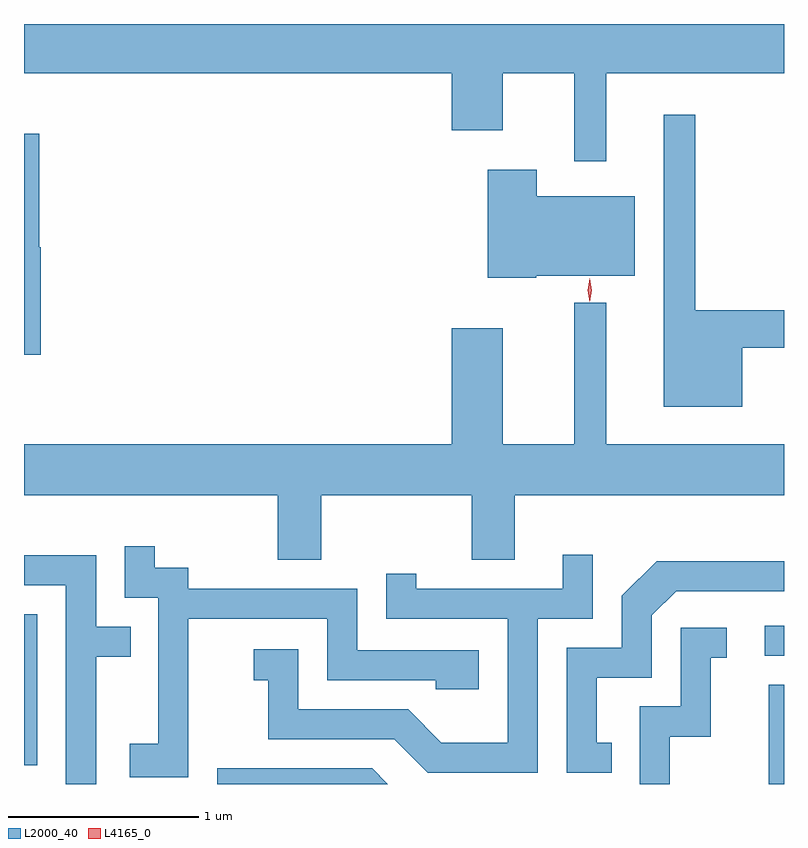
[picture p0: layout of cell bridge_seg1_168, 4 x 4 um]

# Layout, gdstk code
import gdstk
lib = gdstk.Library(unit=1e-6, precision=1e-09)
def R(c, l, rs):  # rectangles x0, y0, x1, y1
    for r in rs: c.add(gdstk.rectangle(r[:2], r[2:], *l))
def P(c, l, *ps):  # polygons
    for p in ps: c.add(gdstk.Polygon(p, *l))
L2000_40 = (2000, 40)
L4165_0 = (4165, 0)

bridge_seg1_168 = lib.new_cell('bridge_seg1_168')
R(bridge_seg1_168, L2000_40, [(716.246,957.996,716.325,958.519), (712.325,958.096,712.394,958.889), (716.223,958.671,716.325,958.829)])
P(bridge_seg1_168, L2000_40, [(715.389,961.736),(716.325,961.736),(716.325,961.996),(712.325,961.996),(712.325,961.736),(714.576,961.736),(714.576,961.436),(714.844,961.436),(714.844,961.736),(715.221,961.736),(715.221,961.273),(715.389,961.273)],
  [(716.104,960.291),(716.325,960.291),(716.325,960.489),(715.859,960.489),(715.859,961.518),(715.691,961.518),(715.691,959.981),(716.104,959.981)],
  [(712.414,960.82),(712.404,960.82),(712.404,961.419),(712.325,961.419),(712.325,960.256),(712.414,960.256)],
  [(715.02,960.671),(715.539,960.671),(715.539,961.089),(715.024,961.089),(715.024,961.229),(714.766,961.229),(714.766,960.661),(715.02,960.661)],
  [(713.889,959.516),(714.681,959.516),(714.681,959.176),(714.909,959.176),(714.909,959.516),(716.325,959.516),(716.325,959.784),(715.389,959.784),(715.389,960.528),(715.221,960.528),(715.221,959.784),(714.844,959.784),(714.844,960.394),(714.576,960.394),(714.576,959.784),(712.325,959.784),(712.325,959.516),(713.661,959.516),(713.661,959.176),(713.889,959.176)],
  [(713.189,958.866),(713.921,958.866),(713.921,958.541),(714.491,958.541),(714.491,958.496),(714.719,958.496),(714.719,958.699),(714.079,958.699),(714.079,959.024),(713.189,959.024),(713.189,959.134),(713.014,959.134),(713.014,959.248),(712.856,959.248),(712.856,958.976),(713.031,958.976),(713.031,958.209),(712.881,958.209),(712.881,958.031),(713.189,958.031)],
  [(715.029,958.866),(715.319,958.866),(715.319,959.203),(715.161,959.203),(715.161,959.024),(714.389,959.024),(714.389,959.103),(714.231,959.103),(714.231,958.866),(714.871,958.866),(714.871,958.214),(714.522,958.214),(714.347,958.389),(713.769,958.389),(713.769,958.704),(713.533,958.704),(713.533,958.541),(713.611,958.541),(713.611,958.231),(714.274,958.231),(714.449,958.056),(715.029,958.056)],
  [(712.704,958.666),(712.888,958.666),(712.888,958.824),(712.704,958.824),(712.704,959.199),(712.325,959.199),(712.325,959.041),(712.546,959.041),(712.546,957.996),(712.704,957.996)],
  [(715.418,958.214),(715.339,958.214),(715.339,958.556),(715.629,958.556),(715.629,958.884),(715.757,959.011),(716.325,959.011),(716.325,959.169),(715.654,959.169),(715.471,958.987),(715.471,958.714),(715.181,958.714),(715.181,958.056),(715.418,958.056)],
  [(715.724,958.246),(715.939,958.246),(715.939,958.661),(716.023,958.661),(716.023,958.819),(715.781,958.819),(715.781,958.404),(715.566,958.404),(715.566,957.996),(715.724,957.996)],
  [(714.157,958.079),(713.341,958.079),(713.341,957.996),(714.24,957.996)])
P(bridge_seg1_168, L4165_0, [(715.302,960.533),(715.302,960.534),(715.292,960.596),(715.302,960.658),(715.302,960.658),(715.303,960.658),(715.312,960.596),(715.303,960.534)])

lib.write_gds('bridge_seg1_168.gds')
